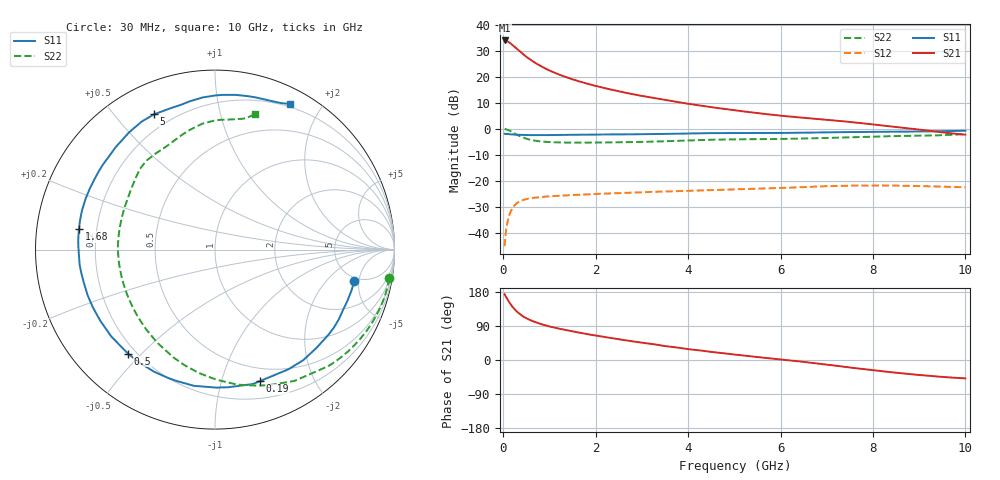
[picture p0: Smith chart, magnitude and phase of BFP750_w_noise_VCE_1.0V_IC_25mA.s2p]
! Infineon Technologies  Discrete & RF Semiconductors
! BFP750
! VCE =  1.0 V,  IC =  25 mA
! Common Emitter S-Parameters:  Jan 2016
# GHz  S  MA  R  50
!  f  S11  S21  S12  S22
! GHz  MAG  ANG  MAG  ANG  MAG  ANG  MAG  ANG
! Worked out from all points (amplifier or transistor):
!   229 points, 30 MHz to 10 GHz, reference 50 ohm
!   highest |S21| = 33.9 dB at 30 MHz (marker M1)
!   |S21| within 3 dB of that: start of sweep to 281.7 MHz
!   unconditionally stable (mu >= 1): 4.576 GHz to end of sweep
!   at 280 MHz: K = 0.12, MSG = 29.9 dB, |S12| = -28.9 dB
!   at 1.78 GHz: K = 0.57, MSG = 21.4 dB, |S12| = -25.3 dB
!   at 10 GHz: K = 1.13, MAG = 7.9 dB, |S12| = -22.5 dB
!   lowest NFmin = 0.79 dB at 450 MHz
!   S11 on the Smith chart (normalised r, x): 30 MHz: 4.58, -4.35; 190 MHz: 0.36, -1.33; 500 MHz: 0.17, -0.46; 1.68 GHz: 0.13, +0.07; 5 GHz: 0.13, +0.64; 10 GHz: 0.17, +1.63
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0.03  0.7962 -12.6  49.77 173.5  0.0055 82.9  0.9846 -9.4
0.05  0.791 -21.2  49.7 168.5  0.009 80.4  0.981 -15.9
0.08  0.7922 -33.1  48.61 162.6  0.0142 74.2  0.9648 -25.5
0.12  0.7859 -47.8  46.26 154.3  0.0201 66.9  0.9332 -37.5
0.15  0.7824 -58.5  44.42 148.8  0.0241 61.9  0.9051 -45.9
0.19  0.7743 -71.1  41.47 142.1  0.0285 55.9  0.8616 -56.1
0.26  0.769 -89.4  36.68 132.2  0.0345 47.5  0.7964 -72.2
0.34  0.7626 -106.4  31.66 123.1  0.0392 40.1  0.7311 -87.6
0.4  0.7603 -116.6  28.49 117.4  0.0416 35.8  0.693 -97.5
0.5  0.7558 -129.9  24.16 110.0  0.0444 30.4  0.6438 -111.1
0.7  0.7521 -148.1  18.24 99.5  0.0475 23.6  0.5868 -131.0
0.9  0.7538 -160.4  14.53 91.9  0.0493 19.6  0.5601 -145.0
1.2  0.759 -173.7  11.05 82.9  0.0513 16.0  0.5444 -160.0
1.68  0.7664 171.4  7.949 71.5  0.0539 12.6  0.5401 -176.2
1.7  0.7668 170.9  7.853 71.0  0.054 12.5  0.5402 -176.8
2.4  0.776 154.6  5.468 56.5  0.0572 8.8  0.5451 165.9
3.4  0.7912 135.8  3.696 38.8  0.0617 4.3  0.5687 147.2
5  0.8267 114.3  2.262 14.4  0.0679 -2.6  0.6257 127.7
5.1  0.8258 113.2  2.206 13.2  0.0683 -3.1  0.6258 126.5
6.8  0.845 96.5  1.539 -9.2  0.0771 -12.2  0.6561 108.3
8.4  0.8749 77.5  1.103 -32.3  0.0805 -25.8  0.7185 90.4
10  0.9131 62.8  0.766 -48.5  0.0748 -35.8  0.7866 73.6
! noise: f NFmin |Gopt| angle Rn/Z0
0.45  0.79  0.09  -165  0.58
0.9  0.81  0.15  -161  0.15
1.5  0.82  0.17  -161  0.11
1.9  0.83  0.19  -161  0.09
2.4  0.86  0.22  -154  0.08
3.5  1.1  0.28  -138  0.08
